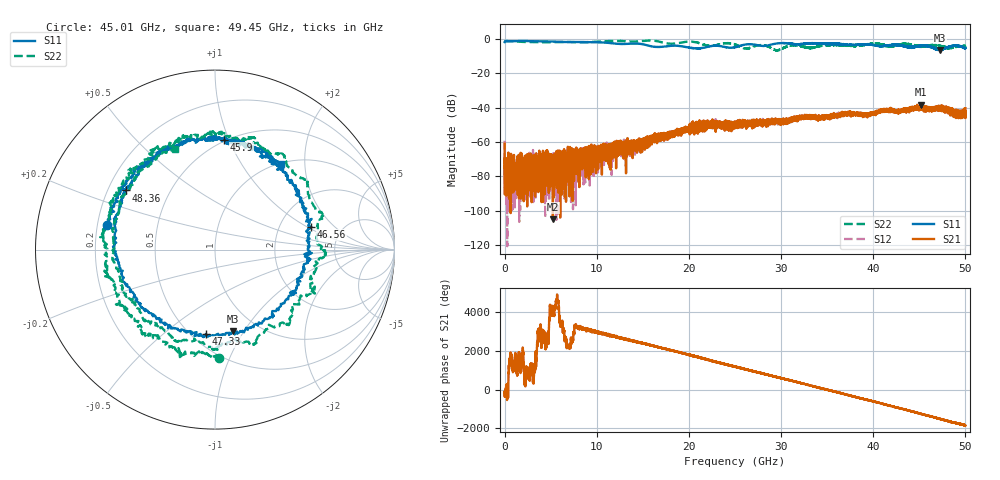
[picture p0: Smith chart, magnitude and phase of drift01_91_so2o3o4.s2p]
!Created with skrf (http://scikit-rf.org).
# Hz S RI R 50.0
!freq ReS11 ImS11 ReS21 ImS21 ReS12 ImS12 ReS22 ImS22
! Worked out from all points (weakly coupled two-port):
!   10001 points, 300 kHz to 50 GHz, reference 50 ohm
!   highest |S21| = -38.27 dB at 45.15 GHz (marker M1); lowest = -105.1 dB at 5.24 GHz (marker M2)
!   lowest |S11| = -6.6 dB at 47.21 GHz (marker M3), VSWR 2.75, Z = 38.5 - j44.9 ohm
!   |S11| at or under -10 dB: nowhere
!   |S22| runs from -6.8 to -1.0 dB; largest |S21 - S12| = 0.0034
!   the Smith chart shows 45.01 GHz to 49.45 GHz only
!   S11 on the Smith chart (normalised r, x): 45.01 GHz: 0.24, +0.10; 45.9 GHz: 0.49, +0.96; 46.56 GHz: 3.02, +1.09; 47.33 GHz: 0.59, -0.71; 48.36 GHz: 0.27, +0.28; 49.45 GHz: 1.02, +1.52
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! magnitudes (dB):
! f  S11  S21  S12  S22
! 300 kHz  -2.1  -61.0  -59.3  -1.3
! 290.3 MHz  -1.4  -78.4  -78.5  -1.4
! 5.24 GHz  -1.7  -105.1  -75.1  -2.1
! 8.335 GHz  -1.9  -64.6  -68.6  -2.1
! 16.67 GHz  -4.8  -55.1  -58.1  -1.6
! 21.62 GHz  -5.2  -51.6  -50.7  -3.4
! 25 GHz  -5.0  -49.3  -49.1  -3.4
! 26.19 GHz  -3.3  -48.7  -49.9  -5.7
! 28.09 GHz  -4.3  -50.7  -48.7  -3.8
! 29.53 GHz  -2.8  -47.8  -48.9  -6.7
! 31.27 GHz  -3.1  -47.9  -46.8  -4.0
! 33.34 GHz  -2.6  -45.6  -44.7  -5.5
! 41.67 GHz  -3.9  -41.8  -41.8  -4.5
! 45.01 GHz  -4.2  -40.3  -40.2  -4.4
! 45.15 GHz  -4.2  -38.3  -40.3  -4.0
! 45.9 GHz  -4.2  -40.6  -40.6  -4.1
! 46.56 GHz  -5.2  -40.8  -40.0  -3.9
! 47.21 GHz  -6.6  -40.0  -40.5  -4.5
! 47.33 GHz  -6.5  -39.5  -41.0  -4.4
! 48.36 GHz  -4.5  -41.8  -41.8  -5.6
! 49.45 GHz  -4.4  -43.3  -43.9  -4.4
! 50 GHz  -5.6  -40.4  -43.6  -4.2
